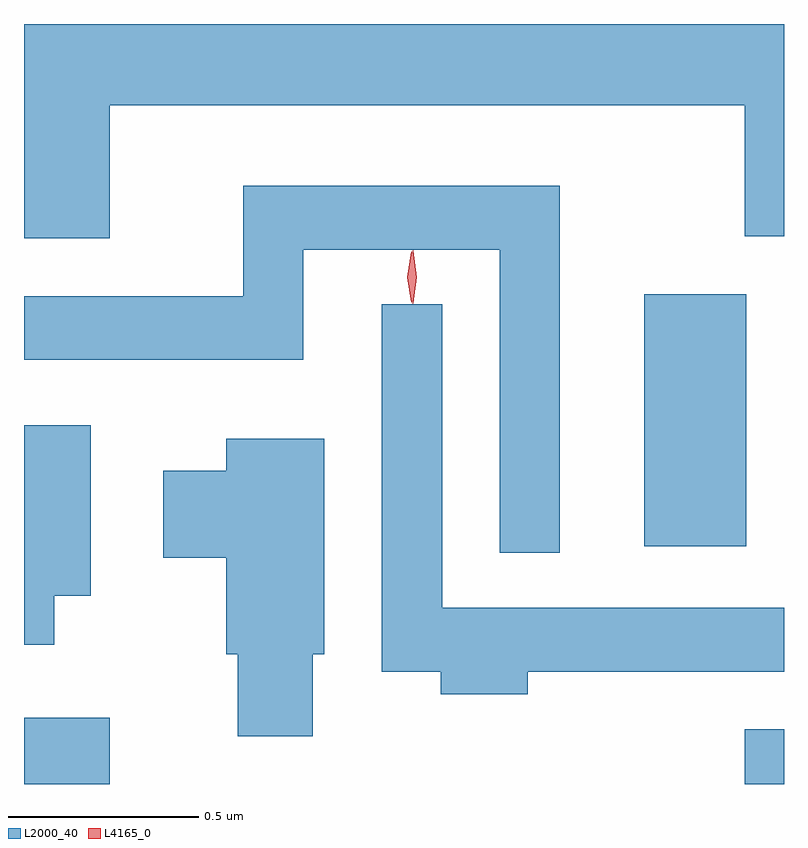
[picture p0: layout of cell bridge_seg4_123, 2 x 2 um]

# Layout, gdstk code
import gdstk
lib = gdstk.Library(unit=1e-6, precision=1e-09)
def R(c, l, rs):  # rectangles x0, y0, x1, y1
    for r in rs: c.add(gdstk.rectangle(r[:2], r[2:], *l))
def P(c, l, *ps):  # polygons
    for p in ps: c.add(gdstk.Polygon(p, *l))
L2000_40 = (2000, 40)
L4165_0 = (4165, 0)

bridge_seg4_123 = lib.new_cell('bridge_seg4_123')
R(bridge_seg4_123, L2000_40, [(880.734,1317.37,880.959,1317.544), (882.631,1317.37,882.734,1317.514), (882.366,1317.996,882.634,1318.659)])
P(bridge_seg4_123, L2000_40, [(880.959,1319.156),(882.631,1319.156),(882.631,1318.811),(882.734,1318.811),(882.734,1319.37),(880.734,1319.37),(880.734,1318.806),(880.959,1318.806)],
  [(882.144,1318.944),(881.311,1318.944),(881.311,1318.654),(880.734,1318.654),(880.734,1318.486),(881.469,1318.486),(881.469,1318.776),(881.986,1318.776),(881.986,1317.978),(882.144,1317.978)],
  [(882.059,1317.666),(882.734,1317.666),(882.734,1317.834),(881.834,1317.834),(881.834,1318.633),(881.676,1318.633),(881.676,1317.666),(881.831,1317.666),(881.831,1317.606),(882.059,1317.606)],
  [(880.814,1317.866),(880.909,1317.866),(880.909,1318.314),(880.734,1318.314),(880.734,1317.736),(880.814,1317.736)],
  [(881.494,1317.711),(881.524,1317.711),(881.524,1318.279),(881.266,1318.279),(881.266,1318.194),(881.101,1318.194),(881.101,1317.966),(881.266,1317.966),(881.266,1317.711),(881.296,1317.711),(881.296,1317.496),(881.494,1317.496)])
P(bridge_seg4_123, L4165_0, [(881.753,1318.638),(881.753,1318.638),(881.743,1318.704),(881.753,1318.771),(881.753,1318.771),(881.754,1318.771),(881.763,1318.704),(881.754,1318.638)],
  [(881.757,1318.634),(881.757,1318.635),(881.748,1318.704),(881.757,1318.773),(881.758,1318.774),(881.758,1318.773),(881.767,1318.704),(881.758,1318.635)])

lib.write_gds('bridge_seg4_123.gds')
